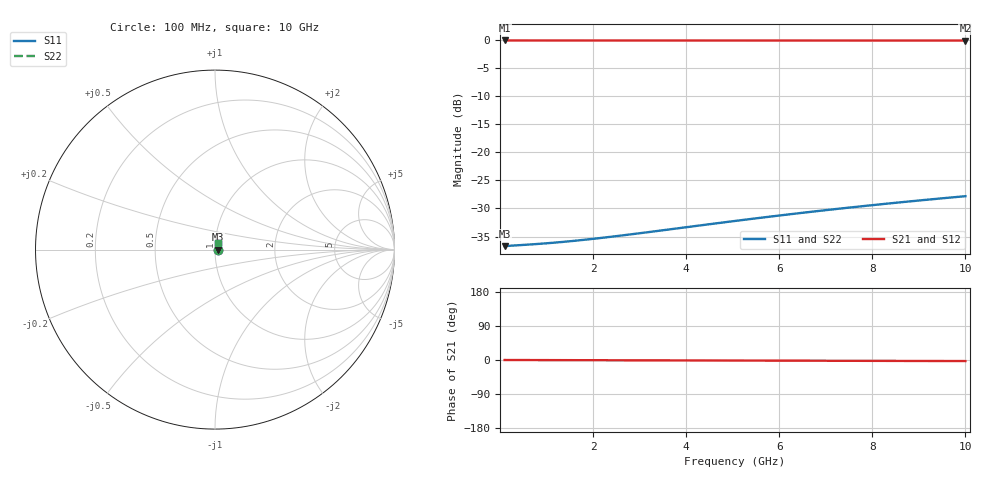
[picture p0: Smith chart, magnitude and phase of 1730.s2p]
# Hz S RI R 50.00
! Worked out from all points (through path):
!   100 points, 100 MHz to 10 GHz, reference 50 ohm
!   highest |S21| = -0.13 dB at 100 MHz (marker M1); lowest = -0.1 dB at 10 GHz (marker M2)
!   lowest |S11| = -36.7 dB at 100 MHz (marker M3), VSWR 1.03, Z = 51.5 + j0.0379 ohm
!   |S11| at or under -10 dB: start of sweep to end of sweep
!   |S22| runs from -36.7 to -27.8 dB; largest |S21 - S12| = 0
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1e8  0.0146 0.000368  0.9854 -0.000489  0.9854 -0.000489  0.0146 0.000368
2e8  0.0147 0.000736  0.9853 -0.000977  0.9853 -0.000977  0.0147 0.000736
7e8  0.015 0.00258  0.985 -0.00342  0.985 -0.00342  0.015 0.00258
1e9  0.0151 0.00368  0.9849 -0.00488  0.9849 -0.00488  0.0151 0.00368
1.2e9  0.0151 0.00441  0.9849 -0.00586  0.9849 -0.00586  0.0151 0.00441
1.4e9  0.0152 0.00515  0.9848 -0.00683  0.9848 -0.00683  0.0152 0.00515
1.8e9  0.0153 0.00662  0.9847 -0.00879  0.9847 -0.00879  0.0153 0.00662
2.1e9  0.0153 0.00772  0.9847 -0.0102  0.9847 -0.0102  0.0153 0.00772
2.5e9  0.0154 0.00919  0.9846 -0.0122  0.9846 -0.0122  0.0154 0.00919
2.9e9  0.0155 0.0107  0.9845 -0.0142  0.9845 -0.0142  0.0155 0.0107
3.4e9  0.0156 0.0125  0.9844 -0.0166  0.9844 -0.0166  0.0156 0.0125
4.5e9  0.0159 0.0165  0.9841 -0.0219  0.9841 -0.0219  0.0159 0.0165
5.1e9  0.016 0.0187  0.984 -0.0249  0.984 -0.0249  0.016 0.0187
5.9e9  0.0162 0.0217  0.9838 -0.0288  0.9838 -0.0288  0.0162 0.0217
6.3e9  0.0163 0.0231  0.9836 -0.0307  0.9836 -0.0307  0.0163 0.0231
6.7e9  0.0164 0.0246  0.9835 -0.0327  0.9835 -0.0327  0.0164 0.0246
7.1e9  0.0166 0.0261  0.9834 -0.0346  0.9834 -0.0346  0.0166 0.0261
7.5e9  0.0167 0.0275  0.9833 -0.0366  0.9833 -0.0366  0.0167 0.0275
7.9e9  0.0168 0.029  0.9831 -0.0385  0.9831 -0.0385  0.0168 0.029
8.4e9  0.017 0.0308  0.983 -0.0409  0.983 -0.0409  0.017 0.0308
9.2e9  0.0173 0.0337  0.9827 -0.0448  0.9827 -0.0448  0.0173 0.0337
1e10  0.0176 0.0367  0.9823 -0.0487  0.9823 -0.0487  0.0176 0.0367
